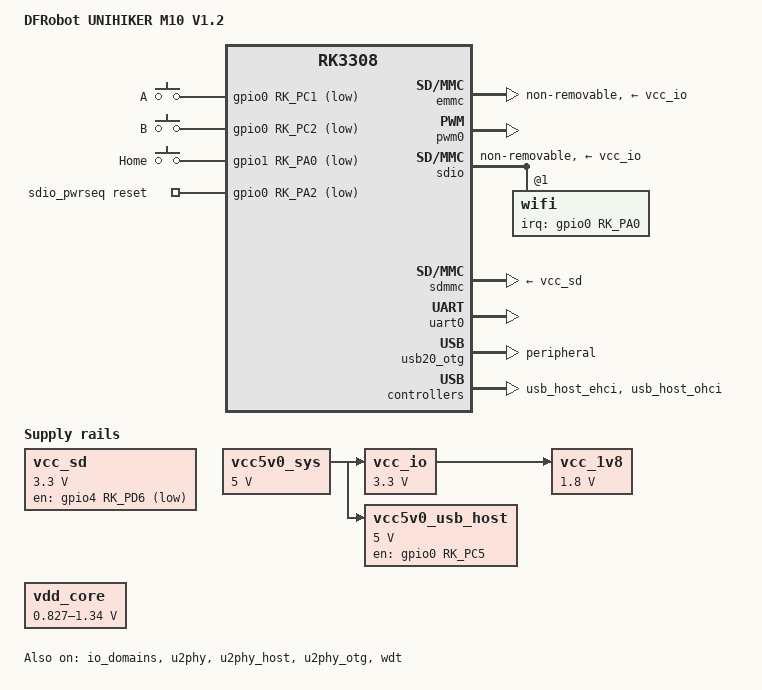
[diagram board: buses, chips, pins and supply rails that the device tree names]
// SPDX-License-Identifier: (GPL-2.0+ OR MIT)
/*
 * Copyright (c) 2026 Mizuno Miotsuki <founder@crepuse.com>
 */

/dts-v1/;

#include <dt-bindings/input/input.h>
#include "rk3308.dtsi"

/ {
	model = "DFRobot UNIHIKER M10 V1.2";
	compatible = "dfrobot,unihiker-m10-v1.2", "rockchip,rk3308";

	aliases {
		mmc0 = &emmc;
		mmc1 = &sdmmc;
		mmc2 = &sdio;
	};

	chosen {
		stdout-path = "serial0:1500000n8";
	};

	keys {
		compatible = "gpio-keys";

		key-a {
			debounce-interval = <20>;
			gpios = <&gpio0 RK_PC1 GPIO_ACTIVE_LOW>;
			label = "A";
			linux,code = <KEY_A>;
		};

		key-b {
			debounce-interval = <20>;
			gpios = <&gpio0 RK_PC2 GPIO_ACTIVE_LOW>;
			label = "B";
			linux,code = <KEY_B>;
		};

		key-home {
			debounce-interval = <20>;
			gpios = <&gpio1 RK_PA0 GPIO_ACTIVE_LOW>;
			label = "Home";
			linux,code = <KEY_HOME>;
		};
	};

	sdio_pwrseq: sdio-pwrseq {
		compatible = "mmc-pwrseq-simple";
		pinctrl-names = "default";
		pinctrl-0 = <&wifi_enable_h>;
		reset-gpios = <&gpio0 RK_PA2 GPIO_ACTIVE_LOW>;
	};

	vcc_1v8: regulator-vcc-1v8 {
		compatible = "regulator-fixed";
		regulator-name = "vcc_1v8";
		regulator-always-on;
		regulator-boot-on;
		regulator-min-microvolt = <1800000>;
		regulator-max-microvolt = <1800000>;
		vin-supply = <&vcc_io>;
	};

	vcc_io: regulator-vcc-io {
		compatible = "regulator-fixed";
		regulator-name = "vcc_io";
		regulator-always-on;
		regulator-boot-on;
		regulator-min-microvolt = <3300000>;
		regulator-max-microvolt = <3300000>;
		vin-supply = <&vcc5v0_sys>;
	};

	vcc_sd: regulator-vcc-sd {
		compatible = "regulator-fixed";
		gpios = <&gpio4 RK_PD6 GPIO_ACTIVE_LOW>;
		pinctrl-names = "default";
		pinctrl-0 = <&sd_vcc_en>;
		regulator-name = "vcc_sd";
		regulator-min-microvolt = <3300000>;
		regulator-max-microvolt = <3300000>;
	};

	vcc5v0_sys: regulator-vcc5v0-sys {
		compatible = "regulator-fixed";
		regulator-name = "vcc5v0_sys";
		regulator-always-on;
		regulator-boot-on;
		regulator-min-microvolt = <5000000>;
		regulator-max-microvolt = <5000000>;
	};

	vcc5v0_usb_host: regulator-vcc5v0-usb-host {
		compatible = "regulator-fixed";
		enable-active-high;
		gpios = <&gpio0 RK_PC5 GPIO_ACTIVE_HIGH>;
		pinctrl-names = "default";
		pinctrl-0 = <&usb_host_vbus_en>;
		regulator-name = "vcc5v0_usb_host";
		regulator-min-microvolt = <5000000>;
		regulator-max-microvolt = <5000000>;
		vin-supply = <&vcc5v0_sys>;
	};

	vdd_core: regulator-vdd-core {
		compatible = "pwm-regulator";
		pwms = <&pwm0 0 5000 1>;
		regulator-name = "vdd_core";
		regulator-always-on;
		regulator-boot-on;
		regulator-min-microvolt = <827000>;
		regulator-max-microvolt = <1340000>;
		regulator-settling-time-up-us = <250>;
	};
};

&cpu0 {
	cpu-supply = <&vdd_core>;
};

&emmc {
	cap-mmc-highspeed;
	no-1-8-v;
	non-removable;
	pinctrl-names = "default";
	pinctrl-0 = <&emmc_bus8 &emmc_clk &emmc_cmd>;
	vmmc-supply = <&vcc_io>;
	status = "okay";
};

&io_domains {
	vccio0-supply = <&vcc_io>;
	vccio1-supply = <&vcc_io>;
	vccio2-supply = <&vcc_io>;
	vccio3-supply = <&vcc_io>;
	vccio4-supply = <&vcc_1v8>;
	vccio5-supply = <&vcc_io>;
	status = "okay";
};

&otp {
	status = "disabled";
};

&pinctrl {
	pinctrl-names = "default";
	pinctrl-0 = <&rtc_32k>;

	sdmmc {
		sd_vcc_en: sd-vcc-en {
			rockchip,pins = <4 RK_PD6 RK_FUNC_GPIO &pcfg_pull_none>;
		};
	};

	usb {
		usb_host_vbus_en: usb-host-vbus-en {
			rockchip,pins = <0 RK_PC5 RK_FUNC_GPIO &pcfg_pull_none>;
		};
	};

	wifi {
		wifi_enable_h: wifi-enable-h {
			rockchip,pins = <0 RK_PA2 RK_FUNC_GPIO &pcfg_pull_none>;
		};

		wifi_host_wake: wifi-host-wake {
			rockchip,pins = <0 RK_PA0 RK_FUNC_GPIO &pcfg_pull_down>;
		};
	};
};

&pwm0 {
	pinctrl-names = "default";
	pinctrl-0 = <&pwm0_pin_pull_down>;
	status = "okay";
};

&sdio {
	#address-cells = <1>;
	#size-cells = <0>;
	cap-sd-highspeed;
	cap-sdio-irq;
	keep-power-in-suspend;
	mmc-pwrseq = <&sdio_pwrseq>;
	no-mmc;
	no-sd;
	non-removable;
	vmmc-supply = <&vcc_io>;
	vqmmc-supply = <&vcc_1v8>;
	status = "okay";

	wifi@1 {
		reg = <1>;
		interrupt-parent = <&gpio0>;
		interrupts = <RK_PA0 IRQ_TYPE_LEVEL_HIGH>;
		interrupt-names = "host-wake";
		pinctrl-names = "default";
		pinctrl-0 = <&wifi_host_wake>;
	};
};

&sdmmc {
	cap-sd-highspeed;
	disable-wp;
	no-1-8-v;
	vmmc-supply = <&vcc_sd>;
	vqmmc-supply = <&vcc_io>;
	status = "okay";
};

&u2phy {
	status = "okay";
};

&u2phy_host {
	phy-supply = <&vcc5v0_usb_host>;
	status = "okay";
};

&u2phy_otg {
	status = "okay";
};

&uart0 {
	pinctrl-names = "default";
	pinctrl-0 = <&uart0_xfer>;
	status = "okay";
};

&usb20_otg {
	dr_mode = "peripheral";
	status = "okay";
};

&usb_host_ehci {
	status = "okay";
};

&usb_host_ohci {
	status = "okay";
};

&wdt {
	status = "okay";
};
